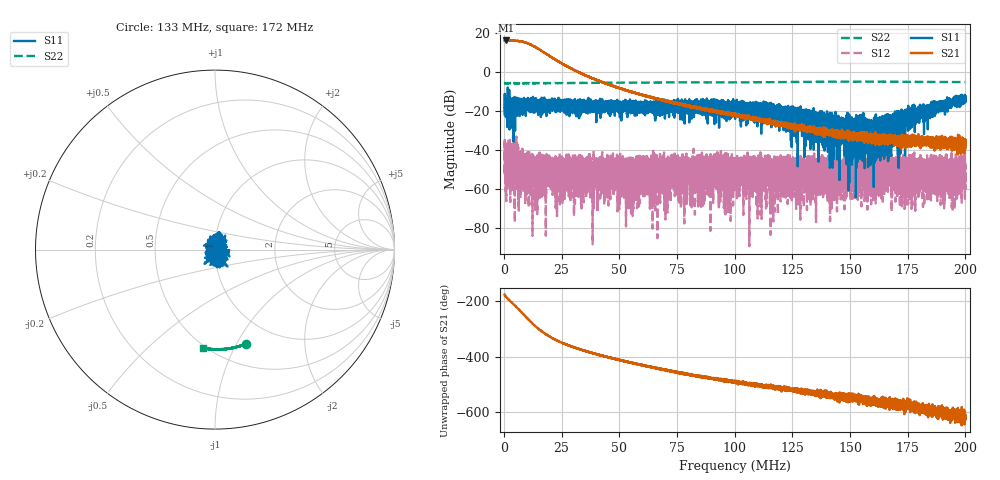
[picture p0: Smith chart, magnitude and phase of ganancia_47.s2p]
# Hz S DB R 50
! CMT, M5065, 19127446, 24.2.4/2
! Date: 11/8/2024 4:12:35 PM
! Data: Format (Calibration Info)
! Freq	S11:dB/Ang(F2)	S21:dB/Ang(F2)	S12:dB/Ang(F2)	S22:dB/Ang(F2)
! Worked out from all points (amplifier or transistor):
!   9000 points, 300 kHz to 200 MHz, reference 50 ohm
!   highest |S21| = 16.0 dB at 1.01 MHz (marker M1)
!   |S21| within 3 dB of that: start of sweep to 13.01 MHz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
!   unconditionally stable (mu >= 1): start of sweep to end of sweep
!   at 33.59 MHz: K = 87.90, MAG = 0.6 dB, |S12| = -47.0 dB
!   at 100.2 MHz: K = 4336.18, MAG = -20.7 dB, |S12| = -59.7 dB
!   at 200 MHz: K = 5530.25, MAG = -34.3 dB, |S12| = -48.3 dB
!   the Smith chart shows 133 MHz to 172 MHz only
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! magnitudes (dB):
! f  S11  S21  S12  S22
! 300 kHz  -21.7  16.0  -52.5  -5.8
! 1.01 MHz  -20.4  16.0  -66.1  -5.8
! 2.519 MHz  -13.1  15.9  -46.1  -5.8
! 9.376 MHz  -16.8  14.9  -49.0  -5.8
! 11.22 MHz  -17.5  14.1  -47.8  -5.9
! 17.5 MHz  -13.2  9.8  -52.0  -5.8
! 33.59 MHz  -15.0  -0.9  -47.0  -5.7
! 66.87 MHz  -18.5  -14.2  -50.3  -5.5
! 89.73 MHz  -17.0  -19.7  -51.2  -5.4
! 94.26 MHz  -19.4  -20.8  -51.0  -5.4
! 97.92 MHz  -15.5  -21.3  -51.9  -5.4
! 100.2 MHz  -17.3  -22.2  -59.7  -5.4
! 118.9 MHz  -20.4  -26.2  -44.9  -5.3
! 133.4 MHz  -28.4  -28.8  -55.1  -5.2
! 141.8 MHz  -28.9  -30.1  -58.5  -5.1
! 146.5 MHz  -33.9  -29.6  -47.3  -5.1
! 151.7 MHz  -38.1  -33.1  -46.6  -5.1
! 155.2 MHz  -27.7  -33.8  -55.8  -5.1
! 158.6 MHz  -35.7  -34.6  -54.2  -5.1
! 166.7 MHz  -29.9  -32.4  -48.5  -5.1
! 190.3 MHz  -19.1  -36.3  -63.1  -5.2
! 200 MHz  -14.9  -36.0  -48.3  -5.3
